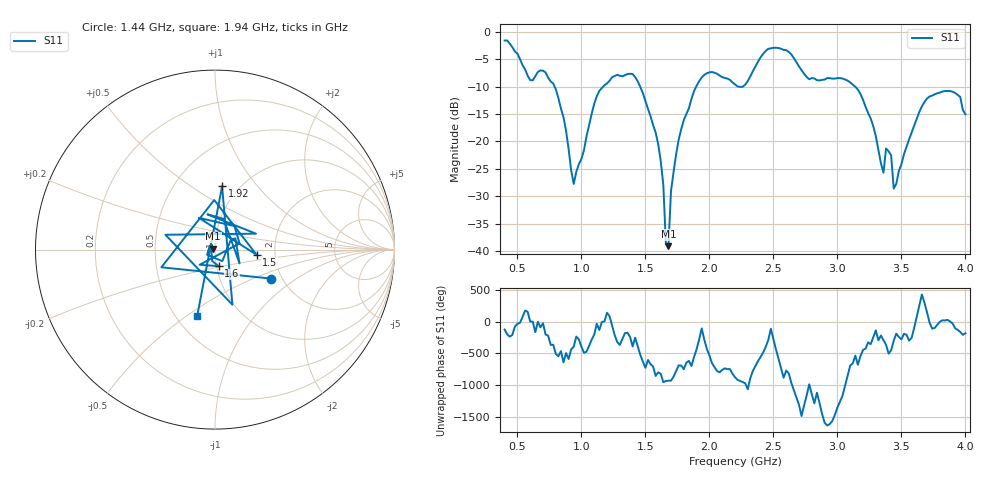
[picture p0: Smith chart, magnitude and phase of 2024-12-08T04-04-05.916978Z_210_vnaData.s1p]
!Created with skrf (http://scikit-rf.org).
# Hz S RI R 50.0
!freq ReS11 ImS11
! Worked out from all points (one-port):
!   181 points, 400 MHz to 4 GHz, reference 50 ohm
!   lowest |S11| = -39.1 dB at 1.68 GHz (marker M1), VSWR 1.02, Z = 49.1 + j0.55 ohm
!   |S11| at or under -10 dB: 790.7 MHz to 1.17 GHz (379 MHz wide, 38.7 % of centre); 1.459 GHz to 1.897 GHz (437.6 MHz wide, 26.1 % of centre); 3.139 GHz to end of sweep (the widest 3 of 4)
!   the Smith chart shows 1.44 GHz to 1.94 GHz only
!   S11 on the Smith chart (normalised r, x): 1.44 GHz: 1.76, -0.65; 1.5 GHz: 1.60, -0.10; 1.6 GHz: 1.02, -0.19; 1.92 GHz: 0.84, +0.67; 1.94 GHz: 0.63, -0.55
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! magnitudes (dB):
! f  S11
! 400 MHz  -1.6
! 600 MHz  -8.8
! 720 MHz  -7.4
! 860 MHz  -15.6
! 940 MHz  -27.8
! 1.12 GHz  -11.8
! 1.3 GHz  -8.0
! 1.44 GHz  -9.0
! 1.5 GHz  -12.6
! 1.6 GHz  -20.5
! 1.64 GHz  -27.9
! 1.66 GHz  -38.7
! 1.68 GHz  -39.1
! 1.7 GHz  -29.1
! 1.76 GHz  -19.7
! 1.92 GHz  -9.0
! 1.94 GHz  -8.3
! 2.2 GHz  -9.6
! 2.46 GHz  -3.1
! 2.66 GHz  -4.8
! 3.1 GHz  -9.2
! 3.26 GHz  -15.8
! 3.36 GHz  -25.7
! 3.42 GHz  -22.6
! 3.44 GHz  -28.6
! 3.56 GHz  -19.6
! 3.72 GHz  -11.8
! 4 GHz  -15.1
